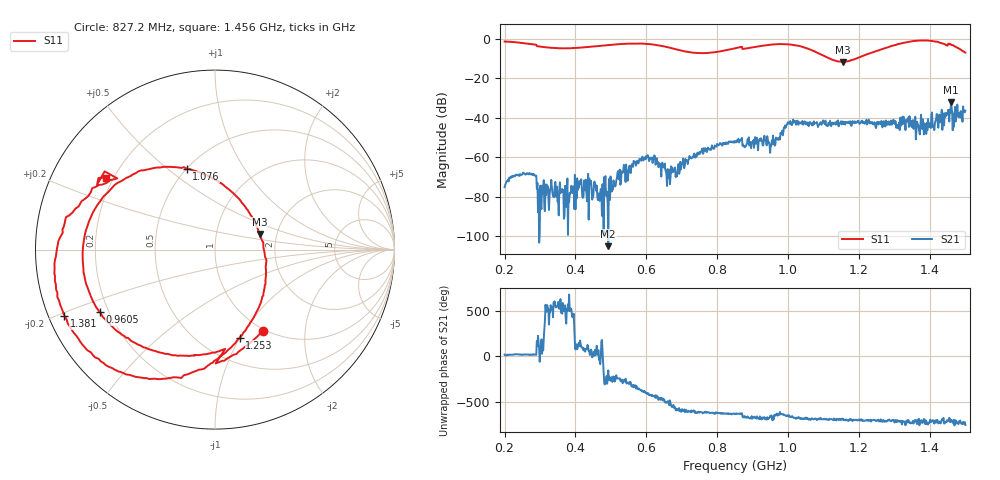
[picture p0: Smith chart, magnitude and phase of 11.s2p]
! NanoVNA-App
! Date: 2024-06-25 16:50:11
! Start: 200MHz Stop: 1.5GHz Points: 801
! S-Parameter data: F S11 S21 S12 S22
# Hz S RI R 50
!  Frequency  S11_Real  S11_Imag  S21_Real  S21_Imag  S12_Real  S12_Imag  S22_Real  S22_Imag
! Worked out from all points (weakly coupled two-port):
!   801 points, 200 MHz to 1.5 GHz, reference 50 ohm
!   highest |S21| = -31.90 dB at 1.459 GHz (marker M1); lowest = -104.9 dB at 492.5 MHz (marker M2)
!   lowest |S11| = -11.6 dB at 1.154 GHz (marker M3), VSWR 1.71, Z = 81.2 + j15.2 ohm
!   |S11| at or under -10 dB: 1.118 GHz to 1.191 GHz (72.31 MHz wide, 6.26 % of centre)
!   S12 and S22 are empty: the file has one direction only
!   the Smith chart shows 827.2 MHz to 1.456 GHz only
!   S11 on the Smith chart (normalised r, x): 827.2 MHz: 0.97, -1.22; 960.5 MHz: 0.17, -0.25; 1.076 GHz: 0.50, +0.58; 1.253 GHz: 0.75, -1.00; 1.381 GHz: 0.05, -0.21; 1.456 GHz: 0.17, +0.29
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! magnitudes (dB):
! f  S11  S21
! 200 MHz  -1.3  -75.0
! 258.5 MHz  -2.2  -68.7
! 282.9 MHz  -2.8  -68.7
! 300.8 MHz  -3.9  -74.3
! 417.8 MHz  -4.3  -76.1
! 492.5 MHz  -3.1  -104.9
! 586.8 MHz  -2.3  -60.8
! 633.9 MHz  -3.2  -64.9
! 661.5 MHz  -4.2  -69.5
! 827.2 MHz  -5.6  -52.6
! 850 MHz  -4.7  -52.1
! 960.5 MHz  -2.7  -51.2
! 1.001 GHz  -2.7  -42.8
! 1.068 GHz  -5.8  -43.8
! 1.076 GHz  -6.4  -42.6
! 1.154 GHz  -11.6  -41.8
! 1.253 GHz  -5.9  -41.9
! 1.284 GHz  -4.0  -41.7
! 1.381 GHz  -0.8  -43.4
! 1.456 GHz  -2.8  -35.8
! 1.459 GHz  -2.8  -31.9
! 1.5 GHz  -6.9  -36.2
